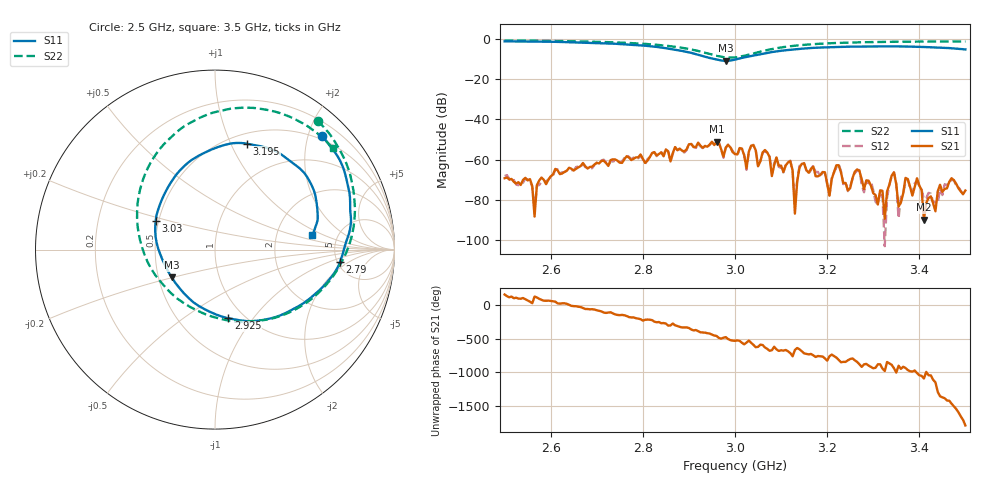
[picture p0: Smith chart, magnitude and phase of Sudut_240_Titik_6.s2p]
# Hz S RI R 50
! CMT, C1220, 16058040, 17.2.0/1
! Date: 15/08/2018 10:18:57
! Data: Format (Calibration Info)
! Freq  S11: Re/Im (F2)  S21: Re/Im (F2)  S12: Re/Im (F2)  S22: Re/Im (F2)
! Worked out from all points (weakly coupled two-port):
!   201 points, 2.5 GHz to 3.5 GHz, reference 50 ohm
!   highest |S21| = -51.15 dB at 2.96 GHz (marker M1); lowest = -89.9 dB at 3.41 GHz (marker M2)
!   lowest |S11| = -10.8 dB at 2.98 GHz (marker M3), VSWR 1.81, Z = 29.3 - j9.91 ohm
!   |S11| at or under -10 dB: 2.955 GHz to 3.005 GHz (49.36 MHz wide, 1.66 % of centre)
!   |S22| runs from -9.3 to -0.7 dB; largest |S21 - S12| = 0.00018
!   S11 on the Smith chart (normalised r, x): 2.5 GHz: 0.42, +2.24; 2.79 GHz: 5.29, -1.40; 2.925 GHz: 0.84, -0.76; 3.03 GHz: 0.48, +0.18; 3.195 GHz: 0.61, +1.15; 3.5 GHz: 3.24, +0.76
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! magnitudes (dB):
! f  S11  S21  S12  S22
! 2.5 GHz  -1.2  -69.3  -68.2  -0.7
! 2.565 GHz  -1.3  -88.4  -85.3  -0.9
! 2.67 GHz  -1.8  -61.7  -62.2  -1.2
! 2.79 GHz  -3.1  -58.9  -59.3  -2.2
! 2.835 GHz  -4.1  -57.2  -57.1  -3.0
! 2.925 GHz  -8.2  -53.0  -53.5  -6.2
! 2.96 GHz  -10.3  -51.1  -50.8  -8.3
! 2.98 GHz  -10.8  -54.0  -54.1  -9.2
! 3 GHz  -10.3  -57.2  -57.3  -9.2
! 3.03 GHz  -8.7  -56.1  -56.2  -7.8
! 3.12 GHz  -5.4  -60.8  -60.5  -3.6
! 3.13 GHz  -5.2  -86.9  -81.7  -3.4
! 3.14 GHz  -5.0  -64.0  -63.1  -3.1
! 3.17 GHz  -4.4  -63.5  -62.9  -2.6
! 3.195 GHz  -4.2  -66.3  -66.5  -2.3
! 3.205 GHz  -4.2  -77.9  -77.7  -2.2
! 3.225 GHz  -4.0  -62.8  -62.3  -2.0
! 3.245 GHz  -3.8  -75.3  -75.7  -1.8
! 3.265 GHz  -3.8  -64.9  -65.6  -1.7
! 3.335 GHz  -3.7  -72.5  -72.7  -1.4
! 3.41 GHz  -4.0  -89.9  -79.7  -1.3
! 3.5 GHz  -5.2  -75.4  -77.2  -1.3
